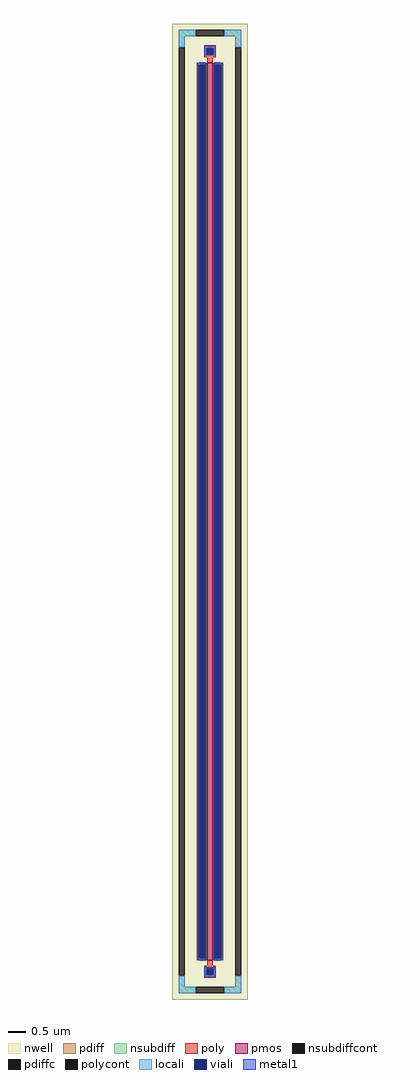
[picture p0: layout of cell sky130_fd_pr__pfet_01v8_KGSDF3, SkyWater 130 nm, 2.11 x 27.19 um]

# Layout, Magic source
magic
tech sky130A
magscale 1 2
<< nwell >>
rect -211 -2719 211 2719
<< pmos >>
rect -15 -2500 15 2500
<< pdiff >>
rect -73 2488 -15 2500
rect -73 -2488 -61 2488
rect -27 -2488 -15 2488
rect -73 -2500 -15 -2488
rect 15 2488 73 2500
rect 15 -2488 27 2488
rect 61 -2488 73 2488
rect 15 -2500 73 -2488
<< pdiffc >>
rect -61 -2488 -27 2488
rect 27 -2488 61 2488
<< nsubdiff >>
rect -175 2649 -79 2683
rect 79 2649 175 2683
rect -175 2587 -141 2649
rect 141 2587 175 2649
rect -175 -2649 -141 -2587
rect 141 -2649 175 -2587
rect -175 -2683 -79 -2649
rect 79 -2683 175 -2649
<< nsubdiffcont >>
rect -79 2649 79 2683
rect -175 -2587 -141 2587
rect 141 -2587 175 2587
rect -79 -2683 79 -2649
<< poly >>
rect -33 2581 33 2597
rect -33 2547 -17 2581
rect 17 2547 33 2581
rect -33 2531 33 2547
rect -15 2500 15 2531
rect -15 -2531 15 -2500
rect -33 -2547 33 -2531
rect -33 -2581 -17 -2547
rect 17 -2581 33 -2547
rect -33 -2597 33 -2581
<< polycont >>
rect -17 2547 17 2581
rect -17 -2581 17 -2547
<< locali >>
rect -175 2649 -79 2683
rect 79 2649 175 2683
rect -175 2587 -141 2649
rect 141 2587 175 2649
rect -33 2547 -17 2581
rect 17 2547 33 2581
rect -61 2488 -27 2504
rect -61 -2504 -27 -2488
rect 27 2488 61 2504
rect 27 -2504 61 -2488
rect -33 -2581 -17 -2547
rect 17 -2581 33 -2547
rect -175 -2649 -141 -2587
rect 141 -2649 175 -2587
rect -175 -2683 -79 -2649
rect 79 -2683 175 -2649
<< viali >>
rect -17 2547 17 2581
rect -61 -2488 -27 2488
rect 27 -2488 61 2488
rect -17 -2581 17 -2547
<< metal1 >>
rect -32 2581 32 2596
rect -32 2547 -17 2581
rect 17 2547 32 2581
rect -32 2542 32 2547
rect -29 2541 29 2542
rect -67 2488 -21 2500
rect -67 -2488 -61 2488
rect -27 -2488 -21 2488
rect -67 -2500 -21 -2488
rect 21 2488 67 2500
rect 21 -2488 27 2488
rect 61 -2488 67 2488
rect 21 -2500 67 -2488
rect -32 -2547 32 -2540
rect -32 -2581 -17 -2547
rect 17 -2581 32 -2547
rect -32 -2594 32 -2581
<< properties >>
string FIXED_BBOX -158 -2666 158 2666
string gencell sky130_fd_pr__pfet_01v8
string library sky130
string parameters w 25.0 l 0.15 m 1 nf 1 diffcov 100 polycov 100 guard 1 glc 1 grc 1 gtc 1 gbc 1 tbcov 100 rlcov 100 topc 1 botc 1 poverlap 0 doverlap 1 lmin 0.15 wmin 0.42 compatible {sky130_fd_pr__pfet_01v8  sky130_fd_pr__pfet_01v8_lvt sky130_fd_pr__pfet_01v8_hvt  sky130_fd_pr__pfet_g5v0d10v5} full_metal 1 viasrc 100 viadrn 100 viagate 100 viagb 0 viagr 0 viagl 0 viagt 0
<< end >>
